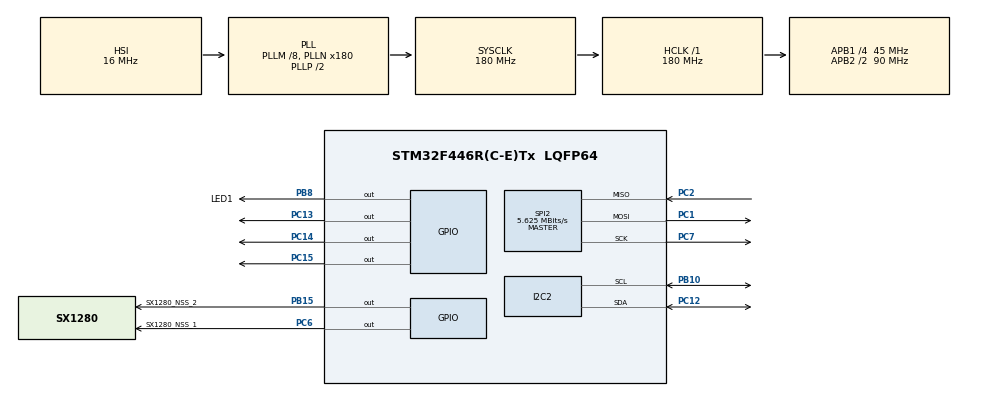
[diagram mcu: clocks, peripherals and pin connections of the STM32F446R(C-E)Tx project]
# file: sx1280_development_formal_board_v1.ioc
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Mcu.Family=STM32F4
Mcu.Name=STM32F446R(C-E)Tx
Mcu.Package=LQFP64
NVIC.PriorityGroup=NVIC_PRIORITYGROUP_4
PA13.Mode=Serial_Wire
PA13.Signal=SYS_JTMS-SWDIO
PA14.Mode=Serial_Wire
PA14.Signal=SYS_JTCK-SWCLK
PB10.Mode=I2C
PB10.Signal=I2C2_SCL
PB15.GPIO_Label=SX1280_NSS_2
PB15.GPIO_Speed=GPIO_SPEED_FREQ_VERY_HIGH
PB15.PinState=GPIO_PIN_SET
PB15.Signal=GPIO_Output
PB8.GPIO_Label=LED1
PB8.PinState=GPIO_PIN_SET
PB8.Signal=GPIO_Output
PC1.GPIO_PuPd=GPIO_PULLDOWN
PC1.Mode=Full_Duplex_Master
PC1.Signal=SPI2_MOSI
PC12.Mode=I2C
PC12.Signal=I2C2_SDA
PC13.PinState=GPIO_PIN_SET
PC13.Signal=GPIO_Output
PC14-OSC32_IN.PinState=GPIO_PIN_SET
PC14-OSC32_IN.Signal=GPIO_Output
PC15-OSC32_OUT.PinState=GPIO_PIN_SET
PC15-OSC32_OUT.Signal=GPIO_Output
PC2.GPIO_PuPd=GPIO_PULLDOWN
PC2.Mode=Full_Duplex_Master
PC2.Signal=SPI2_MISO
PC6.GPIO_Label=SX1280_NSS_1
PC6.GPIO_Speed=GPIO_SPEED_FREQ_VERY_HIGH
PC6.PinState=GPIO_PIN_SET
PC6.Signal=GPIO_Output
PC7.GPIO_PuPd=GPIO_PULLDOWN
PC7.Mode=Full_Duplex_Master
PC7.Signal=SPI2_SCK
PH0-OSC_IN.Mode=HSE-External-Oscillator
PH0-OSC_IN.Signal=RCC_OSC_IN
PH1-OSC_OUT.Mode=HSE-External-Oscillator
PH1-OSC_OUT.Signal=RCC_OSC_OUT
ProjectManager.HeapSize=0x200
ProjectManager.StackSize=0x400
ProjectManager.TargetToolchain=STM32CubeIDE
RCC.AHBFreq_Value=180000000
RCC.APB1CLKDivider=RCC_HCLK_DIV4
RCC.APB1Freq_Value=45000000
RCC.APB1TimFreq_Value=90000000
RCC.APB2CLKDivider=RCC_HCLK_DIV2
RCC.APB2Freq_Value=90000000
RCC.APB2TimFreq_Value=180000000
RCC.CortexFreq_Value=180000000
RCC.HCLKFreq_Value=180000000
RCC.HSE_VALUE=16000000
RCC.PLLM=8
RCC.PLLN=180
RCC.SYSCLKFreq_VALUE=180000000
RCC.SYSCLKSource=RCC_SYSCLKSOURCE_PLLCLK
RCC.USBFreq_Value=180000000
RCC.VCOOutputFreq_Value=360000000
SPI2.BaudRatePrescaler=SPI_BAUDRATEPRESCALER_8
SPI2.CalculateBaudRate=5.625 MBits/s
SPI2.Direction=SPI_DIRECTION_2LINES
SPI2.Mode=SPI_MODE_MASTER
SPI2.VirtualType=VM_MASTER
board=custom

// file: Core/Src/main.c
/* USER CODE BEGIN Header */
/**
  ******************************************************************************
  * @file           : main.c
  * @brief          : Main program body
  ******************************************************************************
  * @attention
  *
  * Copyright (c) 2023 STMicroelectronics.
  * All rights reserved.
  *
  * This software is licensed under terms that can be found in the LICENSE file
  * in the root directory of this software component.
  * If no LICENSE file comes with this software, it is provided AS-IS.
  *
  ******************************************************************************
  */
/* USER CODE END Header */
#include "main.h"

I2C_HandleTypeDef hi2c2;

SPI_HandleTypeDef hspi2;

void SystemClock_Config(void);
static void MX_GPIO_Init(void);
static void MX_I2C2_Init(void);
static void MX_SPI2_Init(void);
/* USER CODE BEGIN PFP */
static void SPI1_TRANSCEIVER(uint8_t* tx, uint8_t* rx, uint8_t lengh)
{
	uint8_t temp;
	do
	{
		HAL_I2C_Mem_Read (&hi2c2, 0x78, 0x00, I2C_MEMADD_SIZE_8BIT, &temp, 1, 10);
	}
	while(temp & 0x04);
	HAL_GPIO_WritePin(SX1280_NSS_1_GPIO_Port, SX1280_NSS_1_Pin, GPIO_PIN_RESET);
	HAL_Delay(1);
	HAL_SPI_TransmitReceive(&hspi2, tx, rx, lengh, 10);
	HAL_GPIO_WritePin(SX1280_NSS_1_GPIO_Port, SX1280_NSS_1_Pin, GPIO_PIN_SET);
}
/* USER CODE END PFP */

int main(void)
{

  /* MCU Configuration--------------------------------------------------------*/

  /* Reset of all peripherals, Initializes the Flash interface and the Systick. */
  HAL_Init();

  /* Configure the system clock */
  SystemClock_Config();

  /* Initialize all configured peripherals */
  MX_GPIO_Init();
  MX_I2C2_Init();
  MX_SPI2_Init();
  /* USER CODE BEGIN 2 */

  HAL_StatusTypeDef rv;

  uint8_t rx[10] = {};
  uint8_t tx[10] = {};

  tx[0] = 0xF7;
  rv = HAL_I2C_Mem_Write(&hi2c2, 0x78, 0x03, I2C_MEMADD_SIZE_8BIT, tx, 1, 10);
  rv = HAL_I2C_Mem_Read (&hi2c2, 0x78, 0x00, I2C_MEMADD_SIZE_8BIT, rx, 1, 10);

  // reset
//  HAL_GPIO_WritePin(SX1280_RST_GPIO_Port, SX1280_RST_Pin, GPIO_PIN_SET);
  tx[0] = 0xFF;
  rv = HAL_I2C_Mem_Write(&hi2c2, 0x78, 0x01, I2C_MEMADD_SIZE_8BIT, tx, 1, 10);
  rv = HAL_I2C_Mem_Read (&hi2c2, 0x78, 0x00, I2C_MEMADD_SIZE_8BIT, rx, 1, 10);
  HAL_Delay(10);
//  HAL_GPIO_WritePin(SX1280_RST_GPIO_Port, SX1280_RST_Pin, GPIO_PIN_RESET);
  tx[0] = 0xF7;
  rv = HAL_I2C_Mem_Write(&hi2c2, 0x78, 0x01, I2C_MEMADD_SIZE_8BIT, tx, 1, 10);
  rv = HAL_I2C_Mem_Read (&hi2c2, 0x78, 0x00, I2C_MEMADD_SIZE_8BIT, rx, 1, 10);
  HAL_Delay(10);
//  HAL_GPIO_WritePin(SX1280_RST_GPIO_Port, SX1280_RST_Pin, GPIO_PIN_SET);
  tx[0] = 0xFF;
  rv = HAL_I2C_Mem_Write(&hi2c2, 0x78, 0x01, I2C_MEMADD_SIZE_8BIT, tx, 1, 10);
  rv = HAL_I2C_Mem_Read (&hi2c2, 0x78, 0x00, I2C_MEMADD_SIZE_8BIT, rx, 1, 10);

  if(rv != HAL_OK)
  {
	  Error_Handler();
  }

  //===========================================
  // common transceiver setting for LoRa
  //===========================================
  //===========================================
  // common transceiver setting for LoRa
  //===========================================

  // setstandby(stdby_rc)
  *(uint32_t*)tx = 0x80 | 0x00 << 8;
  SPI1_TRANSCEIVER(tx, rx, 2);

  // setpackettype(packet_type_lora)
  *(uint32_t*)tx = 0x8A | 0x01 << 8; // LoRa mode
  SPI1_TRANSCEIVER(tx, rx, 2);

  // setrffrequency(rfFrequency)
  *(uint32_t*)tx = 0x86 | 0xB8 << 8 | 0x9D << 16 | 0x89 << 24;
  SPI1_TRANSCEIVER(tx, rx, 4);

  // setbufferbaseaddress()
  *(uint32_t*)tx = 0x8F | 0x80 << 8 | 0x00 << 16;
  SPI1_TRANSCEIVER(tx, rx, 3);

  // setmodulationparams(modparam1, modparam2, modparam3)
  *(uint32_t*)tx = 0x8B | 0x70 << 8 | 0x0A << 16 | 0x01 << 24;
  SPI1_TRANSCEIVER(tx, rx, 4);

  // setpacketparams(pktparam1, pktparam2, pktparam3, pktparam4, pktparam5)
  *(uint32_t*)tx = 0x8C | 0x0C << 8 | 0x00 << 16 | 0x04 << 24;
  *(uint32_t*)(tx+4) = 0x40 | 0x00 << 8 | 0x00 << 16;
  SPI1_TRANSCEIVER(tx, rx, 7);
//  // setstandby(stdby_rc)
//  *(uint32_t*)tx = 0x80 | 0x00 << 8;
//  SPI1_TRANSCEIVER(tx, rx, 2);
//
//  // setstandby(stdby_oxcs)
//  *(uint32_t*)tx = 0x80 | 0x01 << 8;
//  SPI1_TRANSCEIVER(tx, rx, 2);
//
//  // setpackettype(packet_type_lora)
//  *(uint32_t*)tx = 0x8A | 0x01 << 8; // LoRa mode
//  SPI1_TRANSCEIVER(tx, rx, 2);
//
//  // setpackettype(packet_type_lora)
//  *(uint32_t*)tx = 0x8A | 0x01 << 8; // LoRa mode
//  SPI1_TRANSCEIVER(tx, rx, 2);
//
//  // setrffrequency(rfFrequency)
//  *(uint32_t*)tx = 0x86 | 0xB8 << 8 | 0x9D << 16 | 0x89 << 24;
//  SPI1_TRANSCEIVER(tx, rx, 4);
//
//  // setbufferbaseaddress()
//  *(uint32_t*)tx = 0x8F | 0x80 << 8 | 0x00 << 16;
//  SPI1_TRANSCEIVER(tx, rx, 3);
//
//  // setmodulationparams(modparam1, modparam2, modparam3)
//  *(uint32_t*)tx = 0x8B | 0x70 << 8 | 0x18 << 16 | 0x01 << 24;
//  SPI1_TRANSCEIVER(tx, rx, 4);
//
//  // setpacketparams(pktparam1, pktparam2, pktparam3, pktparam4, pktparam5)
//  *(uint32_t*)tx = 0x8C | 0x0C << 8 | 0x00 << 16 | 0x08 << 24;
//  *(uint32_t*)(tx+4) = 0x20 | 0x40 << 8;
//  SPI1_TRANSCEIVER(tx, rx, 8);

//   //===========================================
//   // Tx Setting and Operations
//   //===========================================
//
//   // SetTxParams(power, rampTime)
//   *(uint32_t*)tx = 0x8E | 0x1F << 8 | 0xE0 << 16 | 0x01 << 24;
//   SPI1_TRANSCEIVER(tx, rx, 4);
//
//   // WriteBuffer(offset, *data)
//   *(uint32_t*)tx = 0x1A | 0x80 << 8 | 0x05 << 16 | 0x04 << 24;
//   *(uint32_t*)(tx+4) = 0x08 | 0x07 << 8;
//   SPI1_TRANSCEIVER(tx, rx, 6);
//
//   // SetDioIrqParams(irqMask, dio1Mask, dio2Mask, dio3Mask)
//   *(uint32_t*)tx = 0x8D | 0x40 << 8 | 0x23 << 16 | 0x00 << 24;
//   *(uint32_t*)(tx+4) = 0x01 | 0x00 << 8 | 0x02 << 16 | 0x40 << 24;
//   *(uint32_t*)(tx+8) = 0x20;
//   SPI1_TRANSCEIVER(tx, rx, 9);
//
//   // SetTx(periodBase, periodBaseCount, '')
//   *(uint32_t*)tx = 0x83 | 0x00 << 8 | 0x00 << 16 | 0x00 << 24;
//   SPI1_TRANSCEIVER(tx, rx, 4);
//
//   // get irq status
//   *(uint32_t*)tx = 0x15 | 0x00 << 8 | 0x00 << 16 | 0x00 << 24;
//   SPI1_TRANSCEIVER(tx, rx, 4);

  //===========================================
  // Rx Setting and Operations
  //===========================================

  // SetDioIrqParams(irqMask, dio1Mask, dio2Mask, dio3Mask)
  *(uint32_t*)tx = 0x8D | 0x40 << 8 | 0x23 << 16 | 0x00 << 24;
  *(uint32_t*)(tx+4) = 0x01 | 0x00 << 8 | 0x02 << 16 | 0x40 << 24;
  *(uint32_t*)(tx+8) = 0x20;
  SPI1_TRANSCEIVER(tx, rx, 9);

  // SetRx(periodBase, periodBaseCount[15:8], periodBaseCount[7:0])
  *(uint32_t*)tx = 0x82 | 0x00 << 8 | 0x00 << 16 | 0x00 << 24;
  SPI1_TRANSCEIVER(tx, rx, 4);

  // WaitIrq
  while(1)
  {
	   *(uint32_t*)tx = 0x15 | 0x00 << 8 | 0x00 << 16 | 0x00 << 24;
	   SPI1_TRANSCEIVER(tx, rx, 4);
	   if(rx[3] & 0x02) break;
  }

  // GetPacketStatus()
  *(uint32_t*)tx = 0x1D | 0x00 << 8 | 0x00 << 16 | 0x00 << 24;
  *(uint32_t*)(tx+4) = 0x00 | 0x00 << 8 | 0x00 << 16;
  SPI1_TRANSCEIVER(tx, rx, 7);

  // ClrIrqStatus(irqMask)
  *(uint32_t*)tx = 0x97 | 0xFF << 8 | 0xFF << 16;
  SPI1_TRANSCEIVER(tx, rx, 3);

  // GetRxBufferStatus()
  *(uint32_t*)tx = 0x17 | 0x00 << 8 | 0x00 << 16 | 0x00 << 24;
  SPI1_TRANSCEIVER(tx, rx, 4);

  // ReadBuffer(offset, payloadLengthRx)
  *(uint32_t*)tx = 0x1B | 0x00 << 8 | 0x00 << 16 | 0x00 << 24;
  *(uint32_t*)(tx+4) = 0x00 | 0x00 << 8 | 0x00 << 16;
  SPI1_TRANSCEIVER(tx, rx, 7);

  // FrequencyError[Hz]

  //===========================================
  //===========================================
  //===========================================

  /* USER CODE END 2 */

  /* Infinite loop */
  /* USER CODE BEGIN WHILE */
 while (1)
 {
//	  // WriteBuffer(offset, *data)
//	  *(uint32_t*)tx = 0x1A | 0x80 << 8 | 0x05 << 16 | 0x04 << 24;
//	  *(uint32_t*)(tx+4) = 0x08 | 0x07 << 8;
//	  SPI1_TRANSCEIVER(tx, rx, 6);
//	  // SetTx(periodBase, periodBaseCount, '')
//	    *(uint32_t*)tx = 0x83 | 0x00 << 8 | 0x00 << 16 | 0x00 << 24;
//	    SPI1_TRANSCEIVER(tx, rx, 4);
//	    // get irq status
//	     *(uint32_t*)tx = 0x15 | 0x00 << 8 | 0x00 << 16 | 0x00 << 24;
//	      SPI1_TRANSCEIVER(tx, rx, 4);
//	      HAL_Delay(500);

	      //================================================================

	  // SetRx(periodBase, periodBaseCount[15:8], periodBaseCount[7:0])
	     *(uint32_t*)tx = 0x82 | 0x00 << 8 | 0x00 << 16 | 0x00 << 24;
	     SPI1_TRANSCEIVER(tx, rx, 4);

	     // WaitIrq
	     while(1)
	     {
	  	   *(uint32_t*)tx = 0x15 | 0x00 << 8 | 0x00 << 16 | 0x00 << 24;
	  	   SPI1_TRANSCEIVER(tx, rx, 4);
	  	   if(rx[3] & 0x02) break;
	     }

	     // GetPacketStatus()
	     *(uint32_t*)tx = 0x1D | 0x00 << 8 | 0x00 << 16 | 0x00 << 24;
	     *(uint32_t*)(tx+4) = 0x00 | 0x00 << 8 | 0x00 << 16;
	     SPI1_TRANSCEIVER(tx, rx, 7);

	     // ClrIrqStatus(irqMask)
	     *(uint32_t*)tx = 0x97 | 0xFF << 8 | 0xFF << 16;
	     SPI1_TRANSCEIVER(tx, rx, 3);

	     // GetRxBufferStatus()
	     *(uint32_t*)tx = 0x17 | 0x00 << 8 | 0x00 << 16 | 0x00 << 24;
	     SPI1_TRANSCEIVER(tx, rx, 4);

	     // ReadBuffer(offset, payloadLengthRx)
	     *(uint32_t*)tx = 0x1B | 0x00 << 8 | 0x00 << 16 | 0x00 << 24;
	     *(uint32_t*)(tx+4) = 0x00 | 0x00 << 8 | 0x00 << 16;
	     SPI1_TRANSCEIVER(tx, rx, 7);

	     // FrequencyError[Hz]

	     uint32_t test = *(uint32_t*)(rx+3);

	     if(*(uint32_t*)(rx+3) == 0x07080405)
	     {
	    	 HAL_GPIO_TogglePin(LED1_GPIO_Port, LED1_Pin);
	     }

    /* USER CODE END WHILE */

 }
}

void SystemClock_Config(void)
{
  RCC_OscInitTypeDef RCC_OscInitStruct = {0};
  RCC_ClkInitTypeDef RCC_ClkInitStruct = {0};

  /** Configure the main internal regulator output voltage
  */
  __HAL_RCC_PWR_CLK_ENABLE();
  __HAL_PWR_VOLTAGESCALING_CONFIG(PWR_REGULATOR_VOLTAGE_SCALE1);

  /** Initializes the RCC Oscillators according to the specified parameters
  * in the RCC_OscInitTypeDef structure.
  */
  RCC_OscInitStruct.OscillatorType = RCC_OSCILLATORTYPE_HSI;
  RCC_OscInitStruct.HSIState = RCC_HSI_ON;
  RCC_OscInitStruct.HSICalibrationValue = RCC_HSICALIBRATION_DEFAULT;
  RCC_OscInitStruct.PLL.PLLState = RCC_PLL_ON;
  RCC_OscInitStruct.PLL.PLLSource = RCC_PLLSOURCE_HSI;
  RCC_OscInitStruct.PLL.PLLM = 8;
  RCC_OscInitStruct.PLL.PLLN = 180;
  RCC_OscInitStruct.PLL.PLLP = RCC_PLLP_DIV2;
  RCC_OscInitStruct.PLL.PLLQ = 2;
  RCC_OscInitStruct.PLL.PLLR = 2;
  if (HAL_RCC_OscConfig(&RCC_OscInitStruct) != HAL_OK)
  {
    Error_Handler();
  }

  /** Activate the Over-Drive mode
  */
  if (HAL_PWREx_EnableOverDrive() != HAL_OK)
  {
    Error_Handler();
  }

  /** Initializes the CPU, AHB and APB buses clocks
  */
  RCC_ClkInitStruct.ClockType = RCC_CLOCKTYPE_HCLK|RCC_CLOCKTYPE_SYSCLK
                              |RCC_CLOCKTYPE_PCLK1|RCC_CLOCKTYPE_PCLK2;
  RCC_ClkInitStruct.SYSCLKSource = RCC_SYSCLKSOURCE_PLLCLK;
  RCC_ClkInitStruct.AHBCLKDivider = RCC_SYSCLK_DIV1;
  RCC_ClkInitStruct.APB1CLKDivider = RCC_HCLK_DIV4;
  RCC_ClkInitStruct.APB2CLKDivider = RCC_HCLK_DIV2;

  if (HAL_RCC_ClockConfig(&RCC_ClkInitStruct, FLASH_LATENCY_5) != HAL_OK)
  {
    Error_Handler();
  }
}

static void MX_I2C2_Init(void)
{

  hi2c2.Instance = I2C2;
  hi2c2.Init.ClockSpeed = 100000;
  hi2c2.Init.DutyCycle = I2C_DUTYCYCLE_2;
  hi2c2.Init.OwnAddress1 = 0;
  hi2c2.Init.AddressingMode = I2C_ADDRESSINGMODE_7BIT;
  hi2c2.Init.DualAddressMode = I2C_DUALADDRESS_DISABLE;
  hi2c2.Init.OwnAddress2 = 0;
  hi2c2.Init.GeneralCallMode = I2C_GENERALCALL_DISABLE;
  hi2c2.Init.NoStretchMode = I2C_NOSTRETCH_DISABLE;
  if (HAL_I2C_Init(&hi2c2) != HAL_OK)
  {
    Error_Handler();
  }

}

static void MX_SPI2_Init(void)
{

  /* SPI2 parameter configuration*/
  hspi2.Instance = SPI2;
  hspi2.Init.Mode = SPI_MODE_MASTER;
  hspi2.Init.Direction = SPI_DIRECTION_2LINES;
  hspi2.Init.DataSize = SPI_DATASIZE_8BIT;
  hspi2.Init.CLKPolarity = SPI_POLARITY_LOW;
  hspi2.Init.CLKPhase = SPI_PHASE_1EDGE;
  hspi2.Init.NSS = SPI_NSS_SOFT;
  hspi2.Init.BaudRatePrescaler = SPI_BAUDRATEPRESCALER_8;
  hspi2.Init.FirstBit = SPI_FIRSTBIT_MSB;
  hspi2.Init.TIMode = SPI_TIMODE_DISABLE;
  hspi2.Init.CRCCalculation = SPI_CRCCALCULATION_DISABLE;
  hspi2.Init.CRCPolynomial = 10;
  if (HAL_SPI_Init(&hspi2) != HAL_OK)
  {
    Error_Handler();
  }

}

static void MX_GPIO_Init(void)
{
  GPIO_InitTypeDef GPIO_InitStruct = {0};

  /* GPIO Ports Clock Enable */
  __HAL_RCC_GPIOC_CLK_ENABLE();
  __HAL_RCC_GPIOH_CLK_ENABLE();
  __HAL_RCC_GPIOB_CLK_ENABLE();
  __HAL_RCC_GPIOA_CLK_ENABLE();

  /*Configure GPIO pin Output Level */
  HAL_GPIO_WritePin(GPIOC, GPIO_PIN_13|GPIO_PIN_14|GPIO_PIN_15|SX1280_NSS_1_Pin, GPIO_PIN_SET);

  /*Configure GPIO pin Output Level */
  HAL_GPIO_WritePin(GPIOB, SX1280_NSS_2_Pin|LED1_Pin, GPIO_PIN_SET);

  /*Configure GPIO pins : PC13 PC14 PC15 */
  GPIO_InitStruct.Pin = GPIO_PIN_13|GPIO_PIN_14|GPIO_PIN_15;
  GPIO_InitStruct.Mode = GPIO_MODE_OUTPUT_PP;
  GPIO_InitStruct.Pull = GPIO_NOPULL;
  GPIO_InitStruct.Speed = GPIO_SPEED_FREQ_LOW;
  HAL_GPIO_Init(GPIOC, &GPIO_InitStruct);

  /*Configure GPIO pin : SX1280_NSS_2_Pin */
  GPIO_InitStruct.Pin = SX1280_NSS_2_Pin;
  GPIO_InitStruct.Mode = GPIO_MODE_OUTPUT_PP;
  GPIO_InitStruct.Pull = GPIO_NOPULL;
  GPIO_InitStruct.Speed = GPIO_SPEED_FREQ_VERY_HIGH;
  HAL_GPIO_Init(SX1280_NSS_2_GPIO_Port, &GPIO_InitStruct);

  /*Configure GPIO pin : SX1280_NSS_1_Pin */
  GPIO_InitStruct.Pin = SX1280_NSS_1_Pin;
  GPIO_InitStruct.Mode = GPIO_MODE_OUTPUT_PP;
  GPIO_InitStruct.Pull = GPIO_NOPULL;
  GPIO_InitStruct.Speed = GPIO_SPEED_FREQ_VERY_HIGH;
  HAL_GPIO_Init(SX1280_NSS_1_GPIO_Port, &GPIO_InitStruct);

  /*Configure GPIO pin : LED1_Pin */
  GPIO_InitStruct.Pin = LED1_Pin;
  GPIO_InitStruct.Mode = GPIO_MODE_OUTPUT_PP;
  GPIO_InitStruct.Pull = GPIO_NOPULL;
  GPIO_InitStruct.Speed = GPIO_SPEED_FREQ_LOW;
  HAL_GPIO_Init(LED1_GPIO_Port, &GPIO_InitStruct);

}

void Error_Handler(void)
{
  /* USER CODE BEGIN Error_Handler_Debug */
  /* User can add his own implementation to report the HAL error return state */
//  __disable_irq();
  while (1)
  {
	  HAL_Delay(500);
	  HAL_GPIO_TogglePin(GPIOC, GPIO_PIN_15);
  }
  /* USER CODE END Error_Handler_Debug */
}
